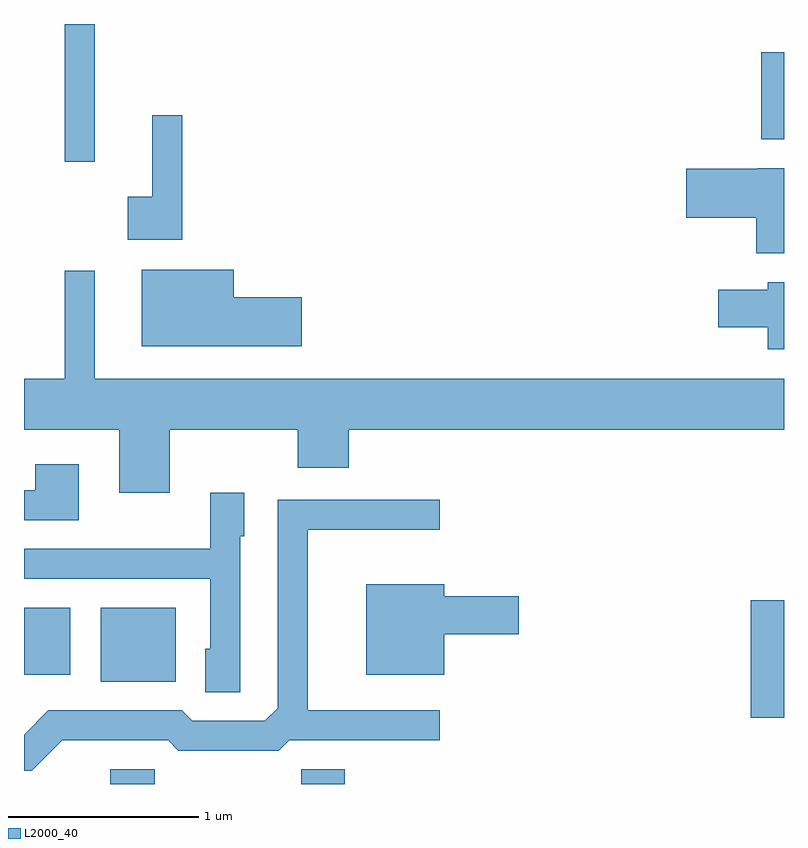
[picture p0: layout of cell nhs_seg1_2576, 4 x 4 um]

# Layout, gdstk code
import gdstk
lib = gdstk.Library(unit=1e-6, precision=1e-09)
def R(c, l, rs):  # rectangles x0, y0, x1, y1
    for r in rs: c.add(gdstk.rectangle(r[:2], r[2:], *l))
def P(c, l, *ps):  # polygons
    for p in ps: c.add(gdstk.Polygon(p, *l))
L2000_40 = (2000, 40)

nhs_seg1_2576 = lib.new_cell('nhs_seg1_2576')
R(nhs_seg1_2576, L2000_40, [(264.066,897.712,264.299,897.789), (265.071,897.712,265.299,897.789), (267.436,898.061,267.611,898.679), (264.016,898.251,264.409,898.639), (263.611,898.286,263.854,898.639), (263.826,900.988,263.984,901.712), (267.491,901.106,267.611,901.564)])
P(nhs_seg1_2576, L2000_40, [(264.444,901.233),(264.286,901.233),(264.286,900.804),(264.156,900.804),(264.156,900.576),(264.444,900.576)],
  [(267.611,900.954),(267.47,900.954),(267.47,900.949),(267.096,900.949),(267.096,900.691),(267.466,900.691),(267.466,900.506),(267.611,900.506)],
  [(265.074,900.274),(264.714,900.274),(264.714,900.419),(264.231,900.419),(264.231,900.016),(265.074,900.016)],
  [(264.379,899.576),(265.051,899.576),(265.051,899.376),(265.319,899.376),(265.319,899.576),(267.611,899.576),(267.611,899.844),(263.984,899.844),(263.984,900.413),(263.826,900.413),(263.826,899.844),(263.611,899.844),(263.611,899.576),(264.111,899.576),(264.111,899.246),(264.379,899.246)],
  [(267.611,900.354),(267.526,900.354),(267.526,900.314),(267.266,900.314),(267.266,900.116),(267.526,900.116),(267.526,900.001),(267.611,900.001)],
  [(263.899,899.394),(263.671,899.394),(263.671,899.259),(263.611,899.259),(263.611,899.101),(263.899,899.101)],
  [(264.749,899.016),(264.769,899.016),(264.769,899.244),(264.591,899.244),(264.591,898.949),(263.611,898.949),(263.611,898.791),(264.591,898.791),(264.591,898.424),(264.566,898.424),(264.566,898.196),(264.749,898.196)],
  [(263.812,897.941),(264.369,897.941),(264.424,897.886),(264.952,897.886),(265.007,897.941),(265.798,897.941),(265.798,898.099),(265.104,898.099),(265.104,899.051),(265.798,899.051),(265.798,899.209),(264.946,899.209),(264.946,898.112),(264.879,898.044),(264.497,898.044),(264.442,898.099),(263.739,898.099),(263.611,897.971),(263.611,897.781),(263.652,897.781)],
  [(265.824,898.501),(266.214,898.501),(266.214,898.699),(265.824,898.699),(265.824,898.764),(265.411,898.764),(265.411,898.286),(265.824,898.286)])

lib.write_gds('nhs_seg1_2576.gds')
